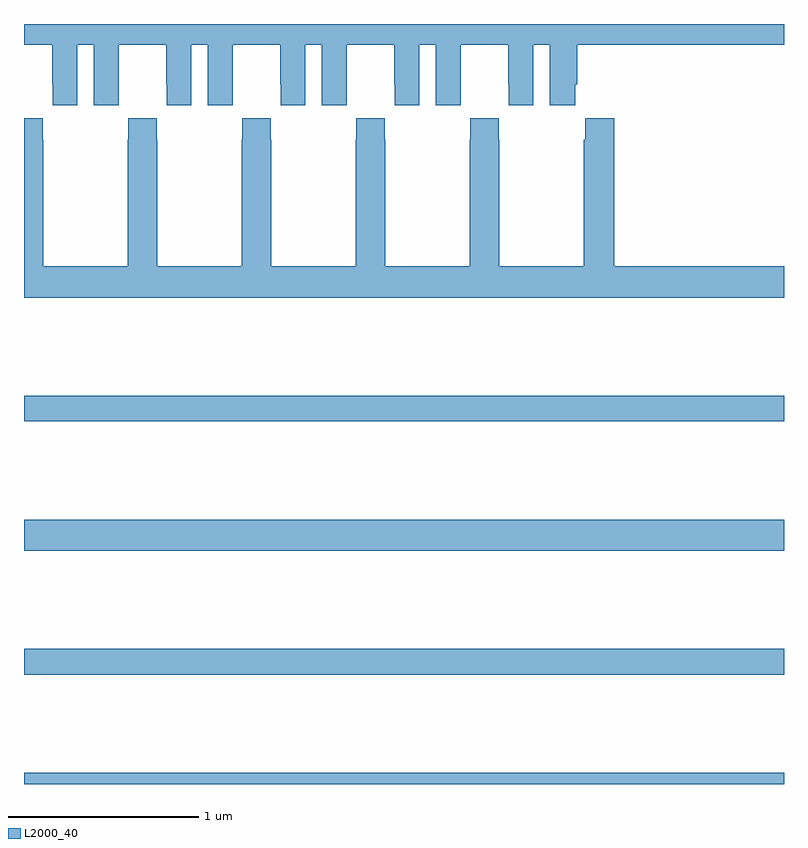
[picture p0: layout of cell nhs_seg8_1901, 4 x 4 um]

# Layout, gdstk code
import gdstk
lib = gdstk.Library(unit=1e-6, precision=1e-09)
def R(c, l, rs):  # rectangles x0, y0, x1, y1
    for r in rs: c.add(gdstk.rectangle(r[:2], r[2:], *l))
def P(c, l, *ps):  # polygons
    for p in ps: c.add(gdstk.Polygon(p, *l))
L2000_40 = (2000, 40)

nhs_seg8_1901 = lib.new_cell('nhs_seg8_1901')
R(nhs_seg8_1901, L2000_40, [(231,1153.9,235,1153.96), (231,1154.476,235,1154.612), (231,1155.128,235,1155.292), (231,1155.808,235,1155.944)])
P(nhs_seg8_1901, L2000_40, [(231,1157.792),(231.149,1157.792),(231.149,1157.584),(231.15,1157.584),(231.15,1157.472),(231.28,1157.472),(231.28,1157.792),(231.368,1157.792),(231.368,1157.472),(231.498,1157.472),(231.498,1157.584),(231.499,1157.584),(231.499,1157.792),(231.749,1157.792),(231.749,1157.584),(231.75,1157.584),(231.75,1157.472),(231.88,1157.472),(231.88,1157.792),(231.968,1157.792),(231.968,1157.472),(232.098,1157.472),(232.098,1157.584),(232.099,1157.584),(232.099,1157.792),(232.349,1157.792),(232.349,1157.584),(232.35,1157.584),(232.35,1157.472),(232.48,1157.472),(232.48,1157.792),(232.568,1157.792),(232.568,1157.472),(232.698,1157.472),(232.698,1157.584),(232.699,1157.584),(232.699,1157.792),(232.949,1157.792),(232.949,1157.584),(232.95,1157.584),(232.95,1157.472),(233.08,1157.472),(233.08,1157.792),(233.168,1157.792),(233.168,1157.472),(233.298,1157.472),(233.298,1157.584),(233.299,1157.584),(233.299,1157.792),(233.549,1157.792),(233.549,1157.584),(233.55,1157.584),(233.55,1157.472),(233.68,1157.472),(233.68,1157.792),(233.768,1157.792),(233.768,1157.472),(233.902,1157.472),(233.902,1157.584),(233.912,1157.584),(233.912,1157.792),(235,1157.792),(235,1157.9),(231,1157.9)],
  [(235,1156.624),(234.107,1156.624),(234.107,1157.404),(233.953,1157.404),(233.953,1157.291),(233.947,1157.291),(233.947,1156.624),(233.502,1156.624),(233.502,1157.291),(233.499,1157.291),(233.499,1157.404),(233.349,1157.404),(233.349,1157.291),(233.347,1157.291),(233.347,1156.624),(232.902,1156.624),(232.902,1157.291),(232.899,1157.291),(232.899,1157.404),(232.749,1157.404),(232.749,1157.291),(232.747,1157.291),(232.747,1156.624),(232.302,1156.624),(232.302,1157.291),(232.299,1157.291),(232.299,1157.404),(232.149,1157.404),(232.149,1157.291),(232.147,1157.291),(232.147,1156.624),(231.702,1156.624),(231.702,1157.291),(231.699,1157.291),(231.699,1157.404),(231.549,1157.404),(231.549,1157.291),(231.547,1157.291),(231.547,1156.624),(231.102,1156.624),(231.102,1157.291),(231.099,1157.291),(231.099,1157.404),(231,1157.404),(231,1156.46),(235,1156.46)])

lib.write_gds('nhs_seg8_1901.gds')
